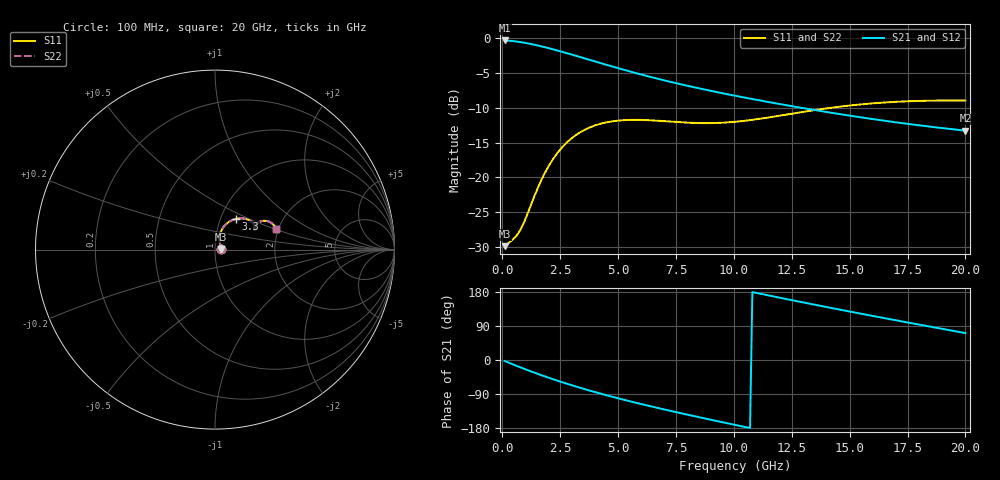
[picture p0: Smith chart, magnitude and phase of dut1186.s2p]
! Touchstone file exported from HFSS 2024.1.0
!  File:  C:/UserFiles/LocalFiles/RDL_TSV_Batchsim/temp_RDL_TSV_1186_1780126855.aedt
!  Generated:  03:57:32 PM May 30, 2026
!  Design:  RDL_TSV
!  Project:  temp_RDL_TSV_1186_1780126855
!  Setup:  Setup1
!  Solution:  Sweep
! Variables:
!  dtsv = 13.22um
!  hbump = 3um
!  htsv = 77.4um
!  ldown = 626.49um
!  lrdl = 578.41um
!  p = 40
!  p1 = 49.84um
!  rhole = 10um
!  subl = 4193.11um
!  t = 450um
!  tdown = 2.24um
!  trdl = 3.91um
!  viad = 10um
!  wdown = 13.11um
!  wrdl = 21.11um
!  xbump = 18um
# GHz S MA R 50.000000
! Terminal data exported
! Port[1] = TM1_1_T1
! Port[2] = TM1_4_T1
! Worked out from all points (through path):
!   200 points, 100 MHz to 20 GHz, reference 50 ohm
!   highest |S21| = -0.28 dB at 100 MHz (marker M1); lowest = -13.3 dB at 20 GHz (marker M2)
!   group delay of S21, straight-line fit = 38 ps
!   lowest |S11| = -29.9 dB at 100 MHz (marker M3), VSWR 1.07, Z = 53.3 + j0.448 ohm
!   |S11| at or under -10 dB: start of sweep to 14.15 GHz
!   |S22| runs from -29.9 to -8.9 dB; largest |S21 - S12| = 8.8e-15
!   S11 on the Smith chart (normalised r, x): 100 MHz: 1.07, +0.01; 3.3 GHz: 1.18, +0.42; 20 GHz: 1.93, +0.51
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0.1  0.03198 7.5  0.9677 -2.6  0.9677 -2.6  0.03198 7.5
! Gamma 0 0 0 0
! Port Impedance 50 0 50 0
0.6  0.03779 37.4  0.9516 -15.0  0.9516 -15.0  0.03779 37.4
0.8  0.04245 49.3  0.9413 -19.8  0.9413 -19.8  0.04244 49.3
1.3  0.06738 68.7  0.9082 -31.5  0.9082 -31.5  0.06738 68.7
1.7  0.09669 72.1  0.877 -40.3  0.877 -40.3  0.09669 72.1
2  0.1204 71.0  0.852 -46.7  0.852 -46.7  0.1204 71.0
2.4  0.1512 67.1  0.8177 -55.0  0.8177 -55.0  0.1512 67.1
2.8  0.1791 62.1  0.7831 -62.8  0.7831 -62.8  0.1791 62.1
3.3  0.208 55.6  0.7405 -72.2  0.7405 -72.2  0.2079 55.6
3.5  0.2175 53.1  0.7239 -75.9  0.7239 -75.9  0.2175 53.0
4.3  0.2447 43.8  0.661 -89.7  0.661 -89.7  0.2446 43.7
5.1  0.2572 36.4  0.6049 -102.6  0.6049 -102.6  0.257 36.3
5.9  0.2594 31.0  0.5559 -114.8  0.5559 -114.8  0.2592 31.0
6.8  0.2553 27.4  0.5086 -127.8  0.5086 -127.8  0.255 27.4
8.4  0.2463 26.5  0.441 -149.7  0.441 -149.7  0.2459 26.5
10.1  0.2517 29.6  0.3857 -171.9  0.3857 -171.9  0.2513 29.7
11.8  0.275 32.0  0.3415 166.6  0.3415 166.6  0.2746 32.0
13.4  0.3035 31.5  0.3071 147.0  0.3071 147.0  0.3031 31.5
15  0.3291 29.0  0.2783 127.9  0.2783 127.9  0.3286 29.0
16.7  0.3477 25.4  0.2531 108.2  0.2531 108.2  0.3471 25.5
18.3  0.3563 22.0  0.2337 90.0  0.2337 90.0  0.3556 22.1
20  0.3575 18.9  0.2171 71.0  0.2171 71.0  0.3566 19.0
